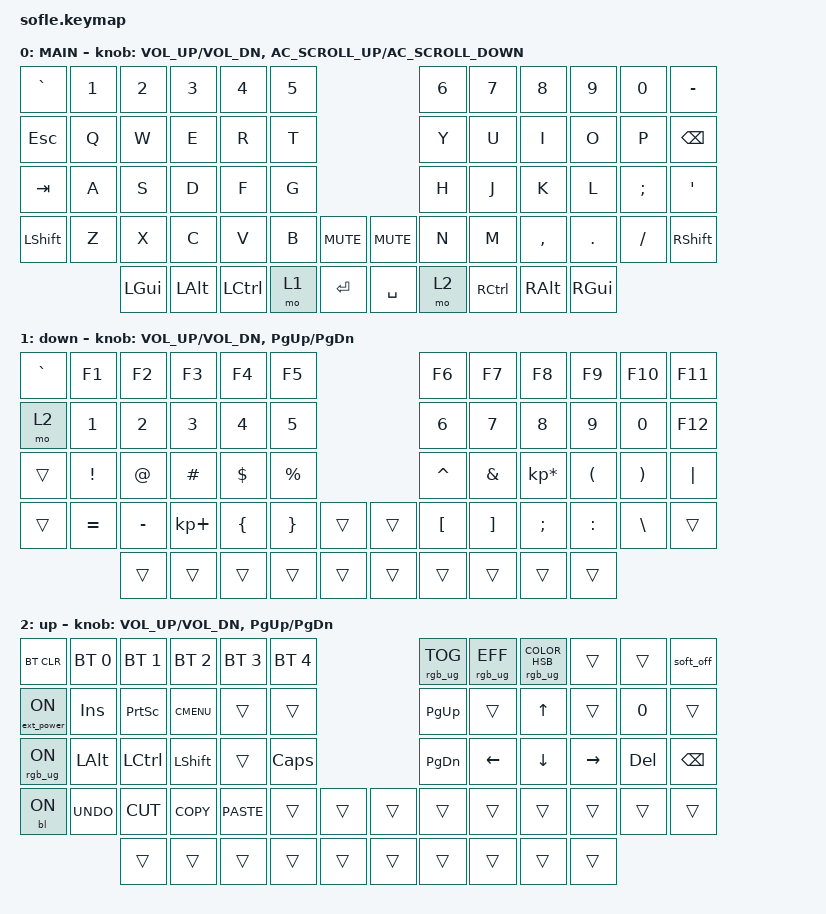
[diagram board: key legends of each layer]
/*
 * Copyright (c) 2020 The ZMK Contributors
 *
 * SPDX-License-Identifier: MIT
 */

#include <behaviors.dtsi>
#include <dt-bindings/zmk/backlight.h>
#include <dt-bindings/zmk/bt.h>
#include <dt-bindings/zmk/ext_power.h>
#include <dt-bindings/zmk/keys.h>
#include <dt-bindings/zmk/rgb.h>

/*
# # not sure what these do. pulled them from MCTech's RGB repo https://github.com/mctechnology17/zmk-config/blob/b1ccd4099e38f963d115f45a25f9f97034f22a32/config/corne.keymap
# #include "config_zmk.h"
# #include <dt-bindings/led/led.h>
# #include <dt-bindings/zmk/outputs.h>
*/

&led_strip { chain-length = <6>; };

/ {
    keymap {
        compatible = "zmk,keymap";

        default_layer {
            display-name = "MAIN";

            // ------------------------------------------------------------------------------------------------------------
            // |  `    |  1  |  2  |  3   |  4   |  5   |                   |  6   |  7    |  8    |  9   |   0   |       |
            // |  ESC  |  Q  |  W  |  E   |  R   |  T   |                   |  Y   |  U    |  I    |  O   |   P   | BKSPC |
            // |  TAB  |  A  |  S  |  D   |  F   |  G   |                   |  H   |  J    |  K    |  L   |   ;   |   '   |
            // | SHIFT |  Z  |  X  |  C   |  V   |  B   |  MUTE  |  |       |  N   |  M    |  ,    |  .   |   /   | SHIFT |
            //               | GUI | ALT  | CTRL | LOWER|  ENTER |  | SPACE | RAISE| CTRL  | ALT   | GUI  |

            bindings = <
&kp GRAVE  &kp N1  &kp N2    &kp N3    &kp N4     &kp N5                            &kp N6  &kp N7     &kp N8     &kp N9    &kp N0    &kp MINUS
&kp ESC    &kp Q   &kp W     &kp E     &kp R      &kp T                             &kp Y   &kp U      &kp I      &kp O     &kp P     &kp BSPC
&kp TAB    &kp A   &kp S     &kp D     &kp F      &kp G                             &kp H   &kp J      &kp K      &kp L     &kp SEMI  &kp SQT
&kp LSHFT  &kp Z   &kp X     &kp C     &kp V      &kp B   &kp C_MUTE    &kp C_MUTE  &kp N   &kp M      &kp COMMA  &kp DOT   &kp FSLH  &kp RSHFT
                   &kp LGUI  &kp LALT  &kp LCTRL  &mo 1   &kp RET       &kp SPACE   &mo 2   &kp RCTRL  &kp RALT   &kp RGUI
            >;

            sensor-bindings =
                <&inc_dec_kp C_VOL_UP C_VOL_DN>,
                <&inc_dec_kp C_AC_SCROLL_UP C_AC_SCROLL_DOWN>;
        };

        lower_layer {
            display-name = "down";

            // ------------------------------------------------------------------------------------------------------------
            // | `     |  F1 |  F2 |  F3  |  F4  |  F5  |                   |  F6  |  F7   |  F8   |  F9  |  F10  |  F11  |
            // | RAISE |   1 |   2 |   3  |   4  |   5  |                   |   6  |   7   |   8   |   9  |    0  |  F12  |
            // |       |  !  |  @  |  #   |  $   |  %   |                   |  ^   |  &    |  *    |  (   |   )   |   |   |
            // |       |  =  |  -  |  +   |  {   |  }   |        |  |       |  [   |  ]    |  ;    |  :   |   \   |       |
            //               |     |      |      |      |        |  |       |      |       |       |      |

            bindings = <
&kp GRAVE  &kp F1     &kp F2     &kp F3       &kp F4    &kp F5                       &kp F6     &kp F7    &kp F8           &kp F9     &kp F10   &kp F11
&mo 2      &kp N1     &kp N2     &kp N3       &kp N4    &kp N5                       &kp N6     &kp N7    &kp N8           &kp N9     &kp N0    &kp F12
&trans     &kp EXCL   &kp AT     &kp HASH     &kp DLLR  &kp PRCNT                    &kp CARET  &kp AMPS  &kp KP_MULTIPLY  &kp LPAR   &kp RPAR  &kp PIPE
&trans     &kp EQUAL  &kp MINUS  &kp KP_PLUS  &kp LBRC  &kp RBRC   &trans    &trans  &kp LBKT   &kp RBKT  &kp SEMI         &kp COLON  &kp BSLH  &trans
                      &trans     &trans       &trans    &trans     &trans    &trans  &trans     &trans    &trans           &trans
            >;

            sensor-bindings = <&inc_dec_kp C_VOL_UP C_VOL_DN &inc_dec_kp PG_UP PG_DN>;
        };

        raise_layer {
            display-name = "up";

            // ------------------------------------------------------------------------------------------------------------
            // |BTCLR| BT1  | BT2  |  BT3  |  BT4  |  BT5 |                |      |      |       |      |       |       |
            // |     | INS  | PSCR | GUI   |       |      |                | PGUP |      |       |      |       |       |
            // |     | ALT  | CTRL | SHIFT |       | CAPS |                |  <-  |   v  |   ^   |  ->  |  DEL  | BKSPC |
            // |     | UNDO | CUT  | COPY  | PASTE |      |      |  |      |      |      |       |      |       |       |
            //              |      |       |       |      |      |  |      |      |      |       |      |

            bindings = <
&bt BT_CLR        &bt BT_SEL 0  &bt BT_SEL 1  &bt BT_SEL 2  &bt BT_SEL 3  &bt BT_SEL 4                    &rgb_ug RGB_TOG  &rgb_ug RGB_EFF  &rgb_ug RGB_COLOR_HSB(99,100,50)  &trans     &trans   &soft_off
&ext_power EP_ON  &kp INS       &kp PSCRN     &kp K_CMENU   &trans        &trans                          &kp PG_UP        &trans           &kp UP                            &trans     &kp N0   &trans
&rgb_ug RGB_ON    &kp LALT      &kp LCTRL     &kp LSHFT     &trans        &kp CLCK                        &kp PAGE_DOWN    &kp LEFT         &kp DOWN                          &kp RIGHT  &kp DEL  &kp BSPC
&bl BL_ON         &kp K_UNDO    &kp K_CUT     &kp K_COPY    &kp K_PASTE   &trans        &trans    &trans  &trans           &trans           &trans                            &trans     &trans   &trans
                                &trans        &trans        &trans        &trans        &trans    &trans  &trans           &trans           &trans                            &trans
            >;

            sensor-bindings = <&inc_dec_kp C_VOL_UP C_VOL_DN &inc_dec_kp PG_UP PG_DN>;
        };

        extra1 { status = "reserved"; };

        extra2 { status = "reserved"; };
    };
};
